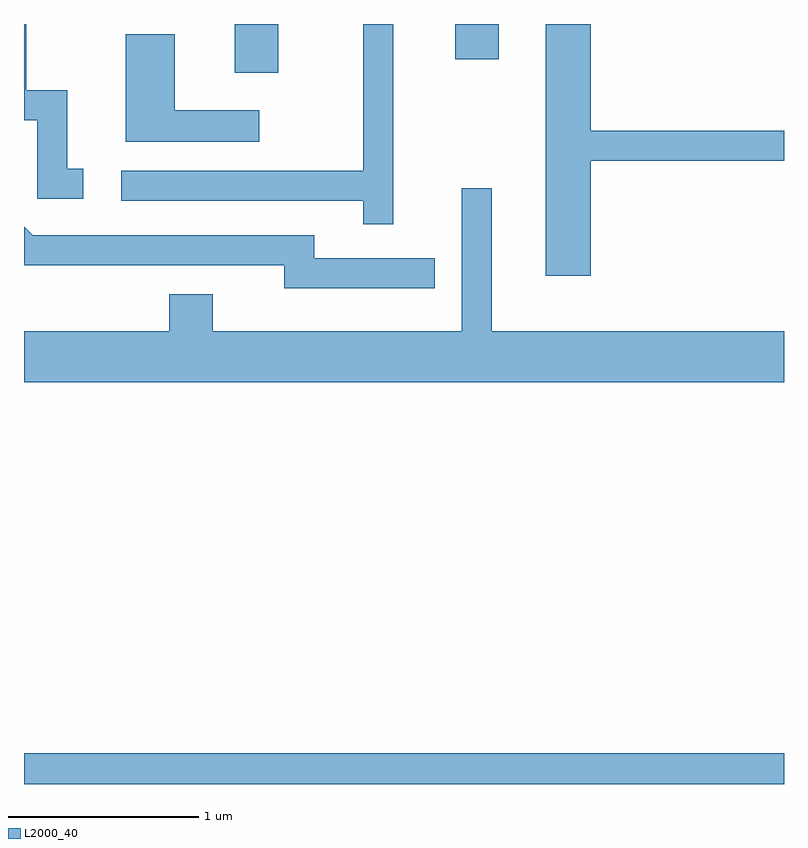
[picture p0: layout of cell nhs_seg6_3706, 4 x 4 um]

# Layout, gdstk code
import gdstk
lib = gdstk.Library(unit=1e-6, precision=1e-09)
def R(c, l, rs):  # rectangles x0, y0, x1, y1
    for r in rs: c.add(gdstk.rectangle(r[:2], r[2:], *l))
def P(c, l, *ps):  # polygons
    for p in ps: c.add(gdstk.Polygon(p, *l))
L2000_40 = (2000, 40)

nhs_seg6_3706 = lib.new_cell('nhs_seg6_3706')
R(nhs_seg6_3706, L2000_40, [(297.611,1530.162,301.611,1530.324), (298.721,1533.906,298.949,1534.162), (299.881,1533.976,300.109,1534.162)])
P(nhs_seg6_3706, L2000_40, [(297.923,1533.399),(297.839,1533.399),(297.839,1533.814),(297.624,1533.814),(297.624,1534.162),(297.611,1534.162),(297.611,1533.656),(297.681,1533.656),(297.681,1533.241),(297.923,1533.241)],
  [(300.594,1533.441),(301.611,1533.441),(301.611,1533.599),(300.594,1533.599),(300.594,1534.162),(300.356,1534.162),(300.356,1532.836),(300.594,1532.836)],
  [(299.554,1534.162),(299.396,1534.162),(299.396,1533.389),(298.123,1533.389),(298.123,1533.231),(299.396,1533.231),(299.396,1533.108),(299.554,1533.108)],
  [(298.848,1533.709),(298.404,1533.709),(298.404,1534.109),(298.146,1534.109),(298.146,1533.541),(298.848,1533.541)],
  [(301.611,1532.544),(300.074,1532.544),(300.074,1533.298),(299.916,1533.298),(299.916,1532.544),(298.604,1532.544),(298.604,1532.739),(298.376,1532.739),(298.376,1532.544),(297.611,1532.544),(297.611,1532.276),(301.611,1532.276)],
  [(299.773,1532.929),(299.139,1532.929),(299.139,1533.049),(297.657,1533.049),(297.611,1533.095),(297.611,1532.891),(298.981,1532.891),(298.981,1532.771),(299.773,1532.771)])

lib.write_gds('nhs_seg6_3706.gds')
